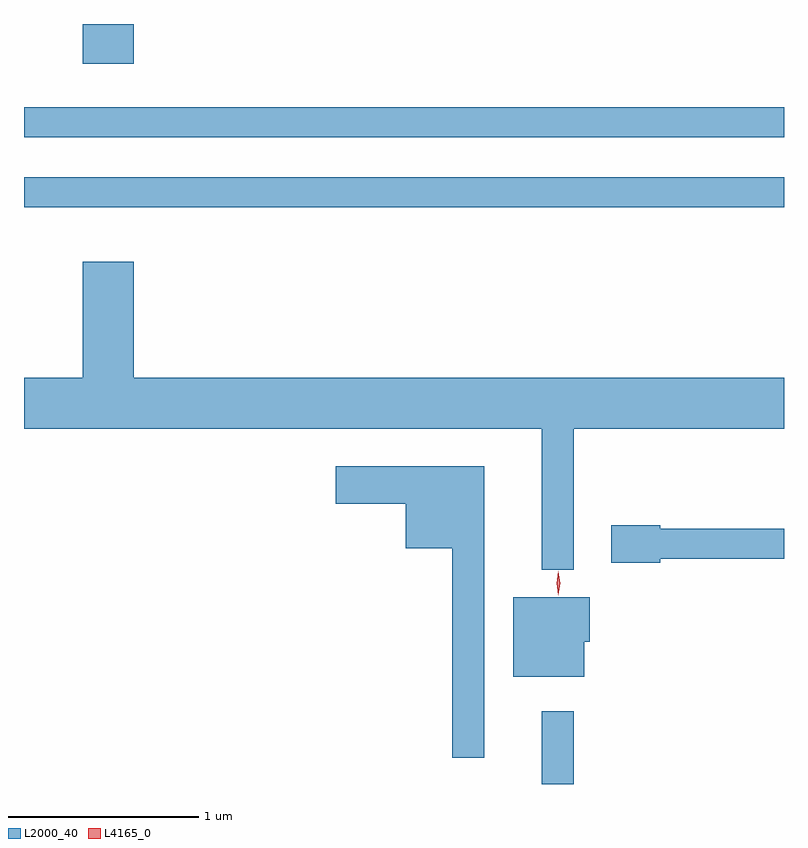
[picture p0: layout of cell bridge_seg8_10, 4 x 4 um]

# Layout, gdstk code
import gdstk
lib = gdstk.Library(unit=1e-6, precision=1e-09)
def R(c, l, rs):  # rectangles x0, y0, x1, y1
    for r in rs: c.add(gdstk.rectangle(r[:2], r[2:], *l))
def P(c, l, *ps):  # polygons
    for p in ps: c.add(gdstk.Polygon(p, *l))
L2000_40 = (2000, 40)
L4165_0 = (4165, 0)

bridge_seg8_10 = lib.new_cell('bridge_seg8_10')
R(bridge_seg8_10, L2000_40, [(1676.031,1903.366,1676.199,1903.748), (1673.306,1906.401,1677.306,1906.559), (1673.306,1906.771,1677.306,1906.929), (1673.616,1907.156,1673.884,1907.366)])
P(bridge_seg8_10, L2000_40, [(1676.199,1905.236),(1677.306,1905.236),(1677.306,1905.504),(1673.884,1905.504),(1673.884,1906.114),(1673.616,1906.114),(1673.616,1905.504),(1673.306,1905.504),(1673.306,1905.236),(1676.031,1905.236),(1676.031,1904.493),(1676.199,1904.493)],
  [(1675.729,1905.039),(1674.946,1905.039),(1674.946,1904.841),(1675.316,1904.841),(1675.316,1904.606),(1675.561,1904.606),(1675.561,1903.503),(1675.729,1903.503)],
  [(1676.654,1904.551),(1677.306,1904.551),(1677.306,1904.709),(1676.654,1904.709),(1676.654,1904.729),(1676.396,1904.729),(1676.396,1904.531),(1676.654,1904.531)],
  [(1676.254,1904.116),(1676.284,1904.116),(1676.284,1904.349),(1675.881,1904.349),(1675.881,1903.931),(1676.254,1903.931)])
P(bridge_seg8_10, L4165_0, [(1676.118,1904.359),(1676.109,1904.423),(1676.118,1904.487),(1676.119,1904.487),(1676.119,1904.487),(1676.129,1904.423),(1676.119,1904.359),(1676.119,1904.359)])

lib.write_gds('bridge_seg8_10.gds')
